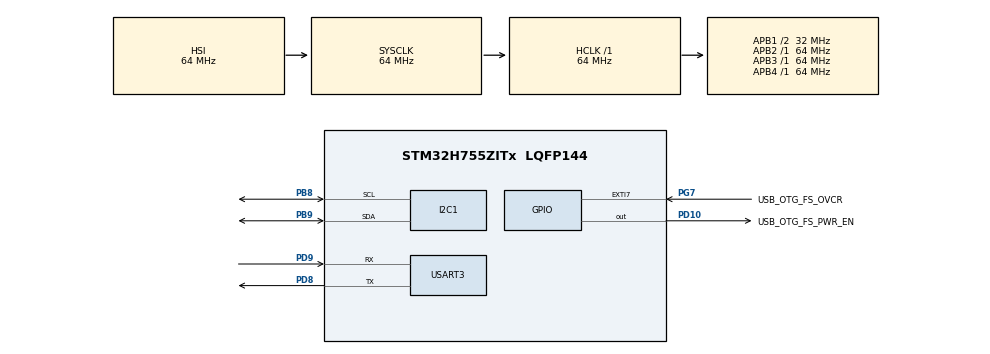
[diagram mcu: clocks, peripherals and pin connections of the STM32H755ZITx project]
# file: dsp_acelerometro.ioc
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CortexM4.IPs=FATFS_M4\:I,FREERTOS_M4\:I,IWDG2\:I,RCC,WWDG2\:I,DMA,BDMA,MDMA,NVIC2\:I,ETH,DEBUG,PDM2PCM_M4\:I,PWR,RESMGR_UTILITY,SYS_M4\:I,USB_DEVICE_M4\:I,USB_HOST_M4\:I,CORTEX_M4\:I,GPIO,OPENAMP_M4\:I,VREFBUF,NUCLEO-H755ZI-Q
CortexM7.IPs=FATFS_M7\:I,FREERTOS_M7\:I,IWDG1\:I,RCC\:I,WWDG1\:I,DMA\:I,BDMA\:I,MDMA\:I,NVIC1\:I,ETH\:I,USART3\:I,USB_OTG_FS\:I,USB_OTG_FS1\:I,SYS\:I,CORTEX_M7\:I,DEBUG\:I,PDM2PCM_M7\:I,PWR\:I,RESMGR_UTILITY\:I,USB_DEVICE_M7\:I,USB_HOST_M7\:I,GPIO\:I,OPENAMP_M7\:I,VREFBUF\:I,NUCLEO-H755ZI-Q\:I,I2C1\:I,TIM7\:I
CortexM7.Pins=PD10,PG7
I2C1.Timing=0x00707CBB
Mcu.Family=STM32H7
Mcu.Name=STM32H755ZITx
Mcu.Package=LQFP144
NUCLEO-H755ZI-Q.BUTTON=1
NUCLEO-H755ZI-Q.LD1=true
NUCLEO-H755ZI-Q.LD2=true
NUCLEO-H755ZI-Q.LD3=true
NUCLEO-H755ZI-Q.VCP=false
NVIC1.EXTI15_10_IRQn=true\:0\:0\:false\:false\:true\:false\:true\:true
NVIC1.PriorityGroup=NVIC_PRIORITYGROUP_4
NVIC1.TIM7_IRQn=true\:0\:0\:false\:false\:true\:true\:true\:true
NVIC2.PriorityGroup=NVIC_PRIORITYGROUP_4
PA1.PinAttribute=CortexM7
PA1.Signal=ETH_REF_CLK
PA11.PinAttribute=CortexM7
PA11.Signal=USB_OTG_FS_DM
PA12.PinAttribute=CortexM7
PA12.Signal=USB_OTG_FS_DP
PA2.PinAttribute=CortexM7
PA2.Signal=ETH_MDIO
PA7.PinAttribute=CortexM7
PA7.Signal=ETH_CRS_DV
PA8.PinAttribute=CortexM7
PA8.Signal=USB_OTG_FS_SOF
PA9.PinAttribute=CortexM7
PA9.Signal=USB_OTG_FS_VBUS
PB13.PinAttribute=CortexM7
PB13.Signal=ETH_TXD1
PB8.Mode=I2C
PB8.PinAttribute=CortexM7
PB8.Signal=I2C1_SCL
PB9.Mode=I2C
PB9.PinAttribute=CortexM7
PB9.Signal=I2C1_SDA
PC1.PinAttribute=CortexM7
PC1.Signal=ETH_MDC
PC14-OSC32_IN\ (OSC32_IN).PinAttribute=Free
PC14-OSC32_IN\ (OSC32_IN).Signal=RCC_OSC32_IN
PC15-OSC32_OUT\ (OSC32_OUT).PinAttribute=Free
PC15-OSC32_OUT\ (OSC32_OUT).Signal=RCC_OSC32_OUT
PC4.PinAttribute=CortexM7
PC4.Signal=ETH_RXD0
PC5.PinAttribute=CortexM7
PC5.Signal=ETH_RXD1
PD10.GPIO_Label=USB_OTG_FS_PWR_EN
PD10.PinAttribute=CortexM7
PD10.Signal=GPIO_Output
PD8.Mode=Asynchronous
PD8.PinAttribute=CortexM7
PD8.Signal=USART3_TX
PD9.Mode=Asynchronous
PD9.PinAttribute=CortexM7
PD9.Signal=USART3_RX
PG11.PinAttribute=CortexM7
PG11.Signal=ETH_TX_EN
PG13.PinAttribute=CortexM7
PG13.Signal=ETH_TXD0
PG7.GPIO_Label=USB_OTG_FS_OVCR
PG7.PinAttribute=CortexM7
PG7.Signal=GPXTI7
PH0-OSC_IN\ (PH0).PinAttribute=Free
PH0-OSC_IN\ (PH0).Signal=RCC_OSC_IN
PH1-OSC_OUT\ (PH1).PinAttribute=Free
PH1-OSC_OUT\ (PH1).Signal=RCC_OSC_OUT
ProjectManager.HeapSize=M4-0x200,M7-0x200
ProjectManager.StackSize=M4-0x400,M7-0x400
ProjectManager.TargetToolchain=STM32CubeIDE
RCC.ADCFreq_Value=129000000
RCC.APB1Freq_Value=32000000
RCC.APB2Freq_Value=64000000
RCC.APB3Freq_Value=64000000
RCC.APB4Freq_Value=64000000
RCC.CortexFreq_Value=64000000
RCC.D2PPRE1=RCC_APB1_DIV2
RCC.DIVM1=5
RCC.DIVN1=48
RCC.DIVQ1=5
RCC.HCLKFreq_Value=64000000
RCC.PLL2FRACN=0
RCC.PLL3FRACN=0
RCC.PLLFRACN=0
RCC.SYSCLKFreq_VALUE=64000000
RCC.SupplySource=PWR_DIRECT_SMPS_SUPPLY
RCC.USBFreq_Value=122880000
TIM7.Period=99
TIM7.Prescaler=6399
USART3.VirtualMode-Asynchronous=VM_ASYNC
VP_NUCLEO-H755ZI-Q_VS_BSP_COMMON.Mode=COMMON
VP_SYS_M4_VS_Systick.Mode=SysTick
VP_TIM7_VS_ClockSourceINT.Mode=Enable_Timer
board=NUCLEO-H755ZI-Q

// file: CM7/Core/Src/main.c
/* USER CODE BEGIN Header */
/**
  ******************************************************************************
  * @file           : main.c
  * @brief          : MPU6050 + Moving Average + USART3
  ******************************************************************************
  */
/* USER CODE END Header */
#include "main.h"

/* USER CODE BEGIN Includes */
#include "arm_math.h"
#include <math.h>

/* USER CODE END Includes */

/* USER CODE BEGIN PD */

/* MPU6050 */
#define MPU6050_ADDR       (0x68 << 1)
#define MPU6050_WHO_AM_I   0x75
#define MPU6050_PWR_MGMT_1 0x6B
#define MPU6050_ACCEL_XOUT 0x3B

/* DSP */
#define N_SAMPLES   100
#define FILTER_SIZE 15
#define FFT_SIZE 256

/* USER CODE END PD */

I2C_HandleTypeDef hi2c1;

TIM_HandleTypeDef htim7;

UART_HandleTypeDef huart3;

/* USER CODE BEGIN PV */

/*estrutura de configuração da fft */
float hann_window[FFT_SIZE];

arm_rfft_fast_instance_f32 fft_instance;
float fft_magnitude[FFT_SIZE/2];
float fft_mean = 0.0f;
float fft_sum = 0.0f;
uint32_t peak_bin = 0;
float peak_magnitude = 0.0f;
float peak_frequency = 0.0f;
float test_bin_magnitude = 0.0f;
float mag_bin_10 = 0.0f;
float mag_bin_30 = 0.0f;
float mag_bin_60 = 0.0f;
float mag_bin_90 = 0.0f;

/*
 * saida da fft
 * tambem tera ffft_size posicoes
 * */
float fft_output[FFT_SIZE];

float ax_fft_buffer[FFT_SIZE];
uint16_t fft_index = 0;
volatile uint8_t fft_buffer_ready = 0;

volatile uint32_t sample_count= 0;
volatile uint8_t sample_read = 0;

/* MPU6050 */
uint8_t who_am_i = 0;
uint8_t power_mgmt = 0x00;

HAL_StatusTypeDef mpu_status;

uint8_t accel_data[6];

int16_t ax = 0;
int16_t ay = 0;
int16_t az = 0;

/* Buffer com 100 amostras do eixo X */
int16_t ax_buffer[N_SAMPLES];

uint32_t sample_index = 0;

/* Soma das amostras */
int32_t ax_sum = 0;

/* Média das 100 amostras */
float ax_mean = 0.0f;

/* Resultado da média móvel */
float ax_filtered=0.0f;

int16_t ax_window[FILTER_SIZE];
uint8_t ax_window_index = 0;
uint8_t ax_window_count = 0;
int32_t ax_window_sum=0;

/* USER CODE END PV */

void SystemClock_Config(void);
static void MX_GPIO_Init(void);
static void MX_I2C1_Init(void);
static void MX_USART3_UART_Init(void);
static void MX_TIM7_Init(void);

int main(void)
{

/* USER CODE BEGIN Boot_Mode_Sequence_0 */
#if defined(DUAL_CORE_BOOT_SYNC_SEQUENCE)
  int32_t timeout;
#endif /* DUAL_CORE_BOOT_SYNC_SEQUENCE */
/* USER CODE END Boot_Mode_Sequence_0 */

/* USER CODE BEGIN Boot_Mode_Sequence_1 */
#if defined(DUAL_CORE_BOOT_SYNC_SEQUENCE)
  /* Wait until CPU2 boots and enters in stop mode or timeout*/
  timeout = 0xFFFF;
  while((__HAL_RCC_GET_FLAG(RCC_FLAG_D2CKRDY) != RESET) && (timeout-- > 0));
  if ( timeout < 0 )
  {
  Error_Handler();
  }
#endif /* DUAL_CORE_BOOT_SYNC_SEQUENCE */
/* USER CODE END Boot_Mode_Sequence_1 */
  /* MCU Configuration--------------------------------------------------------*/

  /* Reset of all peripherals, Initializes the Flash interface and the Systick. */
  HAL_Init();

  /* Configure the system clock */
  SystemClock_Config();
/* USER CODE BEGIN Boot_Mode_Sequence_2 */
#if defined(DUAL_CORE_BOOT_SYNC_SEQUENCE)
/* When system initialization is finished, Cortex-M7 will release Cortex-M4 by means of
HSEM notification */
/*HW semaphore Clock enable*/
__HAL_RCC_HSEM_CLK_ENABLE();
/*Take HSEM */
HAL_HSEM_FastTake(HSEM_ID_0);
/*Release HSEM in order to notify the CPU2(CM4)*/
HAL_HSEM_Release(HSEM_ID_0,0);
/* wait until CPU2 wakes up from stop mode */
timeout = 0xFFFF;
while((__HAL_RCC_GET_FLAG(RCC_FLAG_D2CKRDY) == RESET) && (timeout-- > 0));
if ( timeout < 0 )
{
Error_Handler();
}
#endif /* DUAL_CORE_BOOT_SYNC_SEQUENCE */
/* USER CODE END Boot_Mode_Sequence_2 */

  /* Initialize all configured peripherals */
  MX_GPIO_Init();
  MX_I2C1_Init();
  MX_USART3_UART_Init();
  MX_TIM7_Init();
  /* USER CODE BEGIN 2 */
  arm_rfft_fast_init_f32(&fft_instance, FFT_SIZE);

  /* calculo janela hann*/
  for(uint16_t i = 0; i < FFT_SIZE; i++){
      			hann_window[i]= 0.5f * (1.0f - cosf((2.0f * PI *i)/(FFT_SIZE-1)));
      		}

  HAL_TIM_Base_Start_IT(&htim7);

    /*
     * ============================================================
     * 1. VERIFICA SE O MPU6050 RESPONDE
     * ============================================================
     */

    mpu_status = HAL_I2C_IsDeviceReady(
            &hi2c1,
            MPU6050_ADDR,
            3,
            100
    );

    if (mpu_status == HAL_OK)
    {
        BSP_LED_On(LED_GREEN);
        BSP_LED_Off(LED_RED);
    }
    else
    {
        BSP_LED_Off(LED_GREEN);
        BSP_LED_On(LED_RED);
    }

    /*
     * ============================================================
     * 2. WHO_AM_I
     *
     * Registrador 0x75
     *
     * Esperamos receber:
     *
     * 0x68
     * ============================================================
     */

    mpu_status = HAL_I2C_Mem_Read(
            &hi2c1,
            MPU6050_ADDR,
            MPU6050_WHO_AM_I,
            I2C_MEMADD_SIZE_8BIT,
            &who_am_i,
            1,
            100
    );

    if ((mpu_status == HAL_OK) && (who_am_i == 0x68))
    {
        BSP_LED_On(LED_GREEN);
        BSP_LED_Off(LED_RED);
    }
    else
    {
        BSP_LED_Off(LED_GREEN);
        BSP_LED_On(LED_RED);
    }

    /*
     * ============================================================
     * 3. ACORDA O MPU6050
     *
     * PWR_MGMT_1 = 0x00
     * ============================================================
     */

    power_mgmt = 0x00;

    mpu_status = HAL_I2C_Mem_Write(
            &hi2c1,
            MPU6050_ADDR,
            MPU6050_PWR_MGMT_1,
            I2C_MEMADD_SIZE_8BIT,
            &power_mgmt,
            1,
            100
    );

    if (mpu_status == HAL_OK)
    {
        BSP_LED_On(LED_GREEN);
        BSP_LED_Off(LED_RED);
    }
    else
    {
        BSP_LED_Off(LED_GREEN);
        BSP_LED_On(LED_RED);
    }

    /*
     * Pequeno tempo para o MPU6050 estabilizar
     * depois de sair do modo sleep.
     */
    HAL_Delay(100);

  /* USER CODE END 2 */

  /* Initialize leds */
  BSP_LED_Init(LED_GREEN);
  BSP_LED_Init(LED_YELLOW);
  BSP_LED_Init(LED_RED);

  /* Initialize USER push-button, will be used to trigger an interrupt each time it's pressed.*/
  BSP_PB_Init(BUTTON_USER, BUTTON_MODE_EXTI);

  /* Infinite loop */
  /* USER CODE BEGIN WHILE */

    while (1)
    {
    	/*FFT
    	 * quando 256 amostras estuiverem disponiveis calcula a fft do eixo x*/
    	if(fft_buffer_ready)
    	{
    		/*calcula a media das 256 amostras*/
    		fft_sum= 0.0f;

    		for (uint16_t i = 0; i < FFT_SIZE; i++)
    		{
    			fft_sum += ax_fft_buffer[i];
    		}

    		fft_mean = fft_sum/FFT_SIZE;

    		/* Remove a componente DC - remover media*/
    		for (uint16_t i = 0; i < FFT_SIZE; i++)
    		{
    		    ax_fft_buffer[i] -= fft_mean;
    		}

    		/* janela hann aplicada*/

    		for (uint16_t i = 0; i < FFT_SIZE; i++){
    			ax_fft_buffer[i] *= hann_window[i];
    		}

    		arm_rfft_fast_f32(
    				&fft_instance,
					ax_fft_buffer,
					fft_output, 0);

    		/* Magnitude da componente DC */
    		fft_magnitude[0] = fabsf(fft_output[0]);

    		/* Magnitude dos bins 1 até 127 */
    		arm_cmplx_mag_f32(
    		        &fft_output[2],
    		        &fft_magnitude[1],
    		        (FFT_SIZE / 2) - 1
    		);

    		test_bin_magnitude = fft_magnitude[119];
    		mag_bin_10 = fft_magnitude[10];
    		mag_bin_30 = fft_magnitude[30];
    		mag_bin_60 =fft_magnitude[60];
    		mag_bin_90 = fft_magnitude[90];

    		peak_magnitude = 0.0f;
    		peak_bin = 0;

    		for(uint32_t i = 1; i < FFT_SIZE/2;i++)
    		{

    			if(fft_magnitude[i] > peak_magnitude)
    			{
    				peak_magnitude = fft_magnitude[i];
    				peak_bin = i;
    			}
    		}

    		/*frequencia*/
    		peak_frequency = (float)peak_bin * (200.0f/FFT_SIZE);

    		/*libera o buffer para coletar
    		 * as proximas 256a amostras*/
    		fft_buffer_ready = 0;
    	}
    	/* controle de amostragem com  TIM7
    	 * o tim7 gera uma interrupçao a cada 10ms
    	 * na interrupçao:
    	 * sample_read =1
    	 * Portanto , so fazemos uma nova leitura do MPU6050 quando timer autorizar
    	 * */

    	if(sample_read){

    		sample_read = 0;
    		sample_count++;

        /*

         * LEITURA DO ACELERÔMETRO

         *
         * Começando no registrador 0x3B:
         *
         * 0x3B -> AX HIGH
         * 0x3C -> AX LOW
         *
         * 0x3D -> AY HIGH
         * 0x3E -> AY LOW
         *
         * 0x3F -> AZ HIGH
         * 0x40 -> AZ LOW
         *
         * Total = 6 bytes
         */

        mpu_status = HAL_I2C_Mem_Read(
                &hi2c1,
                MPU6050_ADDR,
                MPU6050_ACCEL_XOUT,
                I2C_MEMADD_SIZE_8BIT,
                accel_data,
                6,
                100
        );

        if (mpu_status == HAL_OK)
        {
            /*
             * Junta HIGH BYTE + LOW BYTE.
             *
             * O resultado é um inteiro com sinal
             * de 16 bits.
             */

            ax = (int16_t)(
                    (accel_data[0] << 8)
                    | accel_data[1]
            );

            ay = (int16_t)(
                    (accel_data[2] << 8)
                    | accel_data[3]
            );

            az = (int16_t)(
                    (accel_data[4] << 8)
                    | accel_data[5]
            );
            /*
             * BUFFER PARA FFT
             *guarda uma nova amostra do eixo x a cada 10 ms.
             *quando chegarmos a 256 fft_buffer_ready = 1
             * */
            if(!fft_buffer_ready)
            {
            	ax_fft_buffer[fft_index] = (float)ax;
            	fft_index++;

            	if(fft_index >= FFT_SIZE)
            	{
            		fft_index = 0;
            		fft_buffer_ready = 1;
            	}

            }

            /*
             * FILTRO MEDIA MOVEL EM TEMPO REAL
             *
             * janela =5 amostras
             * a cada nova leitura
             * 1- remove da soma a amostra mais antiga
             * 2-coloca a nova amostra no buffer circular;
             * 3-adiciona a nova amostra a soma
             * 4-calcula a nova media
             * */

            /*remove a soma do valor antigo desta posiçao*/
            ax_window_sum-=ax_window[ax_window_index];

            /*substitui pela nova posiçao*/
            ax_window[ax_window_index] = ax;
            ax_window_sum+=ax;
            ax_window_index++;
            if(ax_window_index >= FILTER_SIZE)
            {
            	ax_window_index = 0;
            }
            if (ax_window_count < FILTER_SIZE)
            {
            	ax_window_count ++;
            }
            /*resltado atual do filtro*/
            ax_filtered = (float)ax_window_sum / (float)ax_window_count;

            /*

             * COLETA DE 100 AMOSTRAS DO EIXO X

             */

            if (sample_index < N_SAMPLES)
            {
                /*
                 * Guarda a amostra atual.
                 */
                ax_buffer[sample_index] = ax;

                /*
                 * Acumula para calcular a média posteriormente.
                 */
                ax_sum += ax;

                /*
                 * Avança para a próxima posição.
                 */
                sample_index++;

                /*
                 * =================================================
                 * CHEGAMOS A 100 AMOSTRAS
                 * =================================================
                 */

                if (sample_index == N_SAMPLES)
                {

                    ax_mean =
                            (float)ax_sum /
                            (float)N_SAMPLES;

                }
            }

            /*
             * Leitura do MPU6050 funcionou.
             */
            BSP_LED_On(LED_GREEN);
            BSP_LED_Off(LED_RED);
        }
        else
        {
            /*
             * Erro de comunicação I2C.
             */
            BSP_LED_Off(LED_GREEN);
            BSP_LED_On(LED_RED);
        }

    	}

    /* USER CODE END WHILE */

    }
}

void SystemClock_Config(void)
{
  RCC_OscInitTypeDef RCC_OscInitStruct = {0};
  RCC_ClkInitTypeDef RCC_ClkInitStruct = {0};

  /** Supply configuration update enable
  */
  HAL_PWREx_ConfigSupply(PWR_DIRECT_SMPS_SUPPLY);

  /** Configure the main internal regulator output voltage
  */
  __HAL_PWR_VOLTAGESCALING_CONFIG(PWR_REGULATOR_VOLTAGE_SCALE3);

  while(!__HAL_PWR_GET_FLAG(PWR_FLAG_VOSRDY)) {}

  /** Initializes the RCC Oscillators according to the specified parameters
  * in the RCC_OscInitTypeDef structure.
  */
  RCC_OscInitStruct.OscillatorType = RCC_OSCILLATORTYPE_HSI;
  RCC_OscInitStruct.HSIState = RCC_HSI_DIV1;
  RCC_OscInitStruct.HSICalibrationValue = RCC_HSICALIBRATION_DEFAULT;
  RCC_OscInitStruct.PLL.PLLState = RCC_PLL_NONE;
  if (HAL_RCC_OscConfig(&RCC_OscInitStruct) != HAL_OK)
  {
    Error_Handler();
  }

  /** Initializes the CPU, AHB and APB buses clocks
  */
  RCC_ClkInitStruct.ClockType = RCC_CLOCKTYPE_HCLK|RCC_CLOCKTYPE_SYSCLK
                              |RCC_CLOCKTYPE_PCLK1|RCC_CLOCKTYPE_PCLK2
                              |RCC_CLOCKTYPE_D3PCLK1|RCC_CLOCKTYPE_D1PCLK1;
  RCC_ClkInitStruct.SYSCLKSource = RCC_SYSCLKSOURCE_HSI;
  RCC_ClkInitStruct.SYSCLKDivider = RCC_SYSCLK_DIV1;
  RCC_ClkInitStruct.AHBCLKDivider = RCC_HCLK_DIV1;
  RCC_ClkInitStruct.APB3CLKDivider = RCC_APB3_DIV1;
  RCC_ClkInitStruct.APB1CLKDivider = RCC_APB1_DIV2;
  RCC_ClkInitStruct.APB2CLKDivider = RCC_APB2_DIV1;
  RCC_ClkInitStruct.APB4CLKDivider = RCC_APB4_DIV1;

  if (HAL_RCC_ClockConfig(&RCC_ClkInitStruct, FLASH_LATENCY_1) != HAL_OK)
  {
    Error_Handler();
  }
}

static void MX_I2C1_Init(void)
{

  hi2c1.Instance = I2C1;
  hi2c1.Init.Timing = 0x00707CBB;
  hi2c1.Init.OwnAddress1 = 0;
  hi2c1.Init.AddressingMode = I2C_ADDRESSINGMODE_7BIT;
  hi2c1.Init.DualAddressMode = I2C_DUALADDRESS_DISABLE;
  hi2c1.Init.OwnAddress2 = 0;
  hi2c1.Init.OwnAddress2Masks = I2C_OA2_NOMASK;
  hi2c1.Init.GeneralCallMode = I2C_GENERALCALL_DISABLE;
  hi2c1.Init.NoStretchMode = I2C_NOSTRETCH_DISABLE;
  if (HAL_I2C_Init(&hi2c1) != HAL_OK)
  {
    Error_Handler();
  }

  /** Configure Analogue filter
  */
  if (HAL_I2CEx_ConfigAnalogFilter(&hi2c1, I2C_ANALOGFILTER_ENABLE) != HAL_OK)
  {
    Error_Handler();
  }

  /** Configure Digital filter
  */
  if (HAL_I2CEx_ConfigDigitalFilter(&hi2c1, 0) != HAL_OK)
  {
    Error_Handler();
  }

}

static void MX_TIM7_Init(void)
{

  TIM_MasterConfigTypeDef sMasterConfig = {0};

  htim7.Instance = TIM7;
  htim7.Init.Prescaler = 6399;
  htim7.Init.CounterMode = TIM_COUNTERMODE_UP;
  htim7.Init.Period = 49;
  htim7.Init.AutoReloadPreload = TIM_AUTORELOAD_PRELOAD_DISABLE;
  if (HAL_TIM_Base_Init(&htim7) != HAL_OK)
  {
    Error_Handler();
  }
  sMasterConfig.MasterOutputTrigger = TIM_TRGO_RESET;
  sMasterConfig.MasterSlaveMode = TIM_MASTERSLAVEMODE_DISABLE;
  if (HAL_TIMEx_MasterConfigSynchronization(&htim7, &sMasterConfig) != HAL_OK)
  {
    Error_Handler();
  }

}

static void MX_USART3_UART_Init(void)
{

  huart3.Instance = USART3;
  huart3.Init.BaudRate = 115200;
  huart3.Init.WordLength = UART_WORDLENGTH_8B;
  huart3.Init.StopBits = UART_STOPBITS_1;
  huart3.Init.Parity = UART_PARITY_NONE;
  huart3.Init.Mode = UART_MODE_TX_RX;
  huart3.Init.HwFlowCtl = UART_HWCONTROL_NONE;
  huart3.Init.OverSampling = UART_OVERSAMPLING_16;
  huart3.Init.OneBitSampling = UART_ONE_BIT_SAMPLE_DISABLE;
  huart3.Init.ClockPrescaler = UART_PRESCALER_DIV1;
  huart3.AdvancedInit.AdvFeatureInit = UART_ADVFEATURE_NO_INIT;
  if (HAL_UART_Init(&huart3) != HAL_OK)
  {
    Error_Handler();
  }
  if (HAL_UARTEx_SetTxFifoThreshold(&huart3, UART_TXFIFO_THRESHOLD_1_8) != HAL_OK)
  {
    Error_Handler();
  }
  if (HAL_UARTEx_SetRxFifoThreshold(&huart3, UART_RXFIFO_THRESHOLD_1_8) != HAL_OK)
  {
    Error_Handler();
  }
  if (HAL_UARTEx_DisableFifoMode(&huart3) != HAL_OK)
  {
    Error_Handler();
  }

}

static void MX_GPIO_Init(void)
{
  GPIO_InitTypeDef GPIO_InitStruct = {0};

  /* GPIO Ports Clock Enable */
  __HAL_RCC_GPIOC_CLK_ENABLE();
  __HAL_RCC_GPIOA_CLK_ENABLE();
  __HAL_RCC_GPIOB_CLK_ENABLE();
  __HAL_RCC_GPIOD_CLK_ENABLE();
  __HAL_RCC_GPIOG_CLK_ENABLE();

  /*Configure GPIO pin Output Level */
  HAL_GPIO_WritePin(USB_OTG_FS_PWR_EN_GPIO_Port, USB_OTG_FS_PWR_EN_Pin, GPIO_PIN_RESET);

  /*Configure GPIO pins : PC1 PC4 PC5 */
  GPIO_InitStruct.Pin = GPIO_PIN_1|GPIO_PIN_4|GPIO_PIN_5;
  GPIO_InitStruct.Mode = GPIO_MODE_AF_PP;
  GPIO_InitStruct.Pull = GPIO_NOPULL;
  GPIO_InitStruct.Speed = GPIO_SPEED_FREQ_HIGH;
  GPIO_InitStruct.Alternate = GPIO_AF11_ETH;
  HAL_GPIO_Init(GPIOC, &GPIO_InitStruct);

  /*Configure GPIO pins : PA1 PA2 PA7 */
  GPIO_InitStruct.Pin = GPIO_PIN_1|GPIO_PIN_2|GPIO_PIN_7;
  GPIO_InitStruct.Mode = GPIO_MODE_AF_PP;
  GPIO_InitStruct.Pull = GPIO_NOPULL;
  GPIO_InitStruct.Speed = GPIO_SPEED_FREQ_HIGH;
  GPIO_InitStruct.Alternate = GPIO_AF11_ETH;
  HAL_GPIO_Init(GPIOA, &GPIO_InitStruct);

  /*Configure GPIO pin : PB13 */
  GPIO_InitStruct.Pin = GPIO_PIN_13;
  GPIO_InitStruct.Mode = GPIO_MODE_AF_PP;
  GPIO_InitStruct.Pull = GPIO_NOPULL;
  GPIO_InitStruct.Speed = GPIO_SPEED_FREQ_HIGH;
  GPIO_InitStruct.Alternate = GPIO_AF11_ETH;
  HAL_GPIO_Init(GPIOB, &GPIO_InitStruct);

  /*Configure GPIO pin : USB_OTG_FS_PWR_EN_Pin */
  GPIO_InitStruct.Pin = USB_OTG_FS_PWR_EN_Pin;
  GPIO_InitStruct.Mode = GPIO_MODE_OUTPUT_PP;
  GPIO_InitStruct.Pull = GPIO_NOPULL;
  GPIO_InitStruct.Speed = GPIO_SPEED_FREQ_LOW;
  HAL_GPIO_Init(USB_OTG_FS_PWR_EN_GPIO_Port, &GPIO_InitStruct);

  /*Configure GPIO pin : USB_OTG_FS_OVCR_Pin */
  GPIO_InitStruct.Pin = USB_OTG_FS_OVCR_Pin;
  GPIO_InitStruct.Mode = GPIO_MODE_IT_RISING;
  GPIO_InitStruct.Pull = GPIO_NOPULL;
  HAL_GPIO_Init(USB_OTG_FS_OVCR_GPIO_Port, &GPIO_InitStruct);

  /*Configure GPIO pins : PA8 PA11 PA12 */
  GPIO_InitStruct.Pin = GPIO_PIN_8|GPIO_PIN_11|GPIO_PIN_12;
  GPIO_InitStruct.Mode = GPIO_MODE_AF_PP;
  GPIO_InitStruct.Pull = GPIO_NOPULL;
  GPIO_InitStruct.Speed = GPIO_SPEED_FREQ_LOW;
  GPIO_InitStruct.Alternate = GPIO_AF10_OTG1_FS;
  HAL_GPIO_Init(GPIOA, &GPIO_InitStruct);

  /*Configure GPIO pins : PG11 PG13 */
  GPIO_InitStruct.Pin = GPIO_PIN_11|GPIO_PIN_13;
  GPIO_InitStruct.Mode = GPIO_MODE_AF_PP;
  GPIO_InitStruct.Pull = GPIO_NOPULL;
  GPIO_InitStruct.Speed = GPIO_SPEED_FREQ_HIGH;
  GPIO_InitStruct.Alternate = GPIO_AF11_ETH;
  HAL_GPIO_Init(GPIOG, &GPIO_InitStruct);

}

/* USER CODE BEGIN 4 */
void HAL_TIM_PeriodElapsedCallback(TIM_HandleTypeDef *htim)
{
	if(htim -> Instance == TIM7)
	{
		sample_read = 1;
	}
}
/* USER CODE END 4 */

void Error_Handler(void)
{
    __disable_irq();
    while (1)
    {
    }
}
